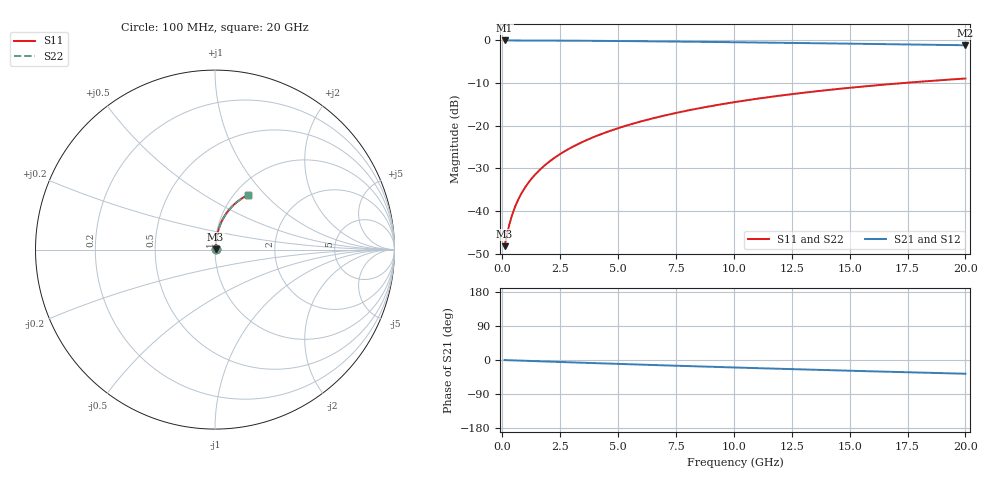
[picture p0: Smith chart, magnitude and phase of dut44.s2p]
! Touchstone file exported from HFSS 2024.1.0
!  File:  C:/UserFiles/LocalFiles/RDL_TSV_Batchsim/temp_RDL_top_44_1778681098.aedt
!  Generated:  10:06:59 PM May 13, 2026
!  Design:  RDL_top
!  Project:  temp_RDL_top_44_1778681098
!  Setup:  Setup1
!  Solution:  Sweep
! Variables:
!  dtsv = 10.80580581um
!  hbump = 3um
!  htsv = 85.36um
!  ldown = 100um
!  lrdl = 510.13um
!  p = 40
!  p1 = 42.18um
!  rhole = 1um
!  t = 450um
!  tdown = 3.915915916um
!  trdl = 3.39um
!  wdown = 15.38538539um
!  wrdl = 16.85um
# GHz S MA R 50.000000
! Terminal data exported
! Port[1] = Box2_T1
! Port[2] = Box2_T2
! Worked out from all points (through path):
!   200 points, 100 MHz to 20 GHz, reference 50 ohm
!   highest |S21| = -0.03 dB at 100 MHz (marker M1); lowest = -1.2 dB at 20 GHz (marker M2)
!   group delay of S21, straight-line fit = 5.02 ps
!   lowest |S11| = -48.2 dB at 100 MHz (marker M3), VSWR 1.01, Z = 50.3 + j0.202 ohm
!   |S11| at or under -10 dB: start of sweep to 17.34 GHz
!   |S22| runs from -48.2 to -9.0 dB; largest |S21 - S12| = 3.1e-15
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0.1  0.00387 31.2  0.9967 -0.2  0.9967 -0.2  0.00387 31.2
! Gamma 0 0 0 0
! Port Impedance 50 0 50 0
0.2  0.005235 49.3  0.9966 -0.4  0.9966 -0.4  0.005235 49.3
0.3  0.006865 58.9  0.9964 -0.7  0.9964 -0.7  0.006865 58.9
0.4  0.008573 64.6  0.9963 -0.9  0.9963 -0.9  0.008573 64.5
0.5  0.01031 68.3  0.9961 -1.1  0.9961 -1.1  0.01031 68.3
0.6  0.01206 71.0  0.996 -1.3  0.996 -1.3  0.01206 71.0
0.8  0.01558 74.6  0.9957 -1.7  0.9957 -1.7  0.01558 74.6
1.1  0.02094 77.8  0.9953 -2.3  0.9953 -2.3  0.02094 77.8
1.3  0.02455 79.1  0.9949 -2.7  0.9949 -2.7  0.02455 79.1
1.6  0.03 80.4  0.9944 -3.4  0.9944 -3.4  0.03 80.4
2.1  0.03916 81.6  0.9932 -4.4  0.9932 -4.4  0.03916 81.6
2.7  0.05024 82.1  0.9915 -5.6  0.9915 -5.6  0.05024 82.1
3.5  0.06513 82.2  0.9887 -7.3  0.9887 -7.3  0.06513 82.1
4.2  0.07826 81.8  0.9857 -8.7  0.9857 -8.7  0.07826 81.8
5  0.09336 81.2  0.9819 -10.3  0.9819 -10.3  0.09335 81.2
5.9  0.1104 80.3  0.977 -12.1  0.977 -12.1  0.1104 80.2
6.8  0.1276 79.2  0.9718 -13.8  0.9718 -13.8  0.1275 79.1
8.4  0.158 77.0  0.9616 -16.8  0.9616 -16.8  0.158 77.0
10.1  0.19 74.5  0.95 -19.9  0.95 -19.9  0.19 74.4
13.4  0.2501 69.2  0.9261 -25.6  0.9261 -25.6  0.25 69.2
16.7  0.306 63.9  0.9012 -31.1  0.9012 -31.1  0.3059 63.8
20  0.3569 58.7  0.8758 -36.3  0.8758 -36.3  0.3567 58.6
